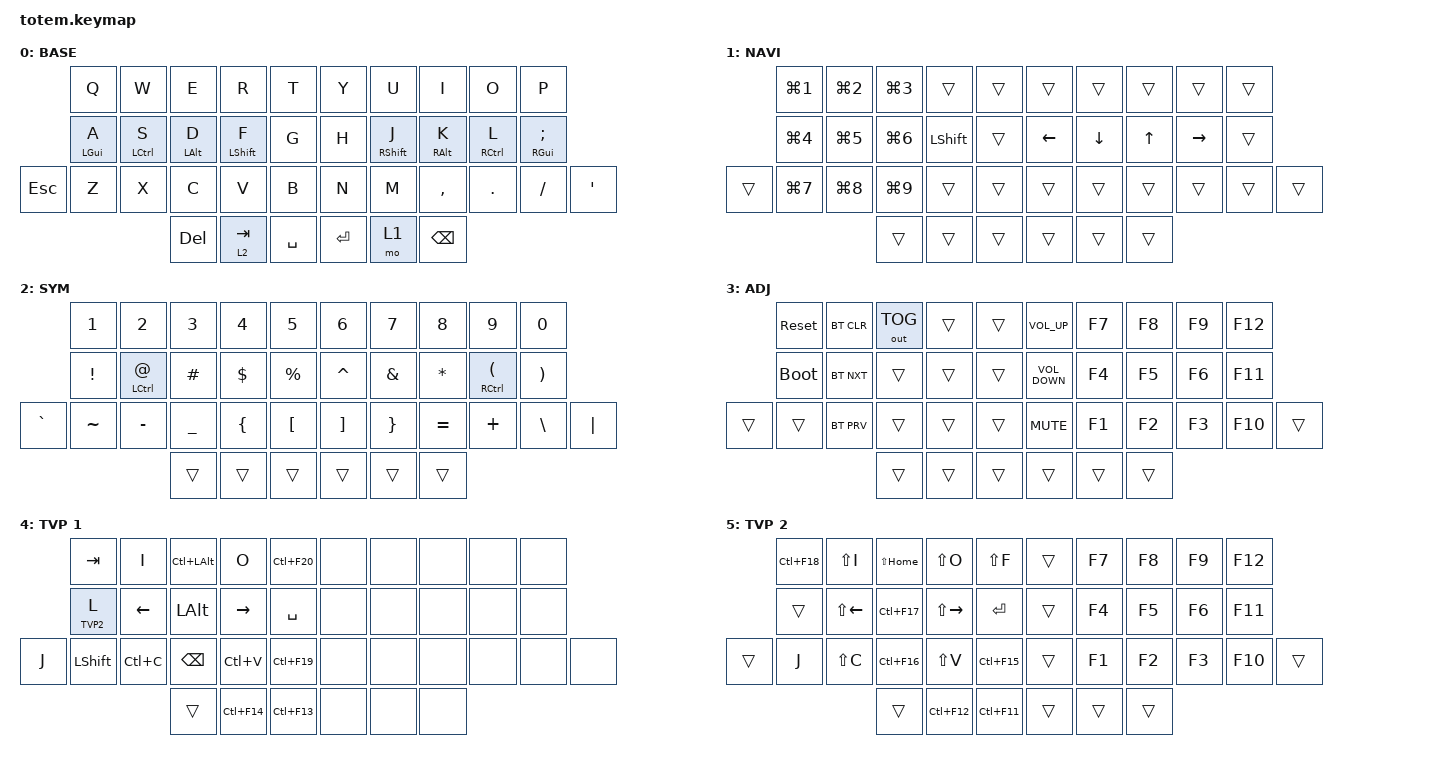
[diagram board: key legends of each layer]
//
//                                                        ▀▀▀▀▀     ▀▀▀▀▀          ▀▀█▀▀
//                                                        ▄▀▀▀▄  ▄  ▄▀▀▀▄  ▄  ▄▀▀▀▄  █  ▄▀▀▀▄
//                                                        █   █  █  █   █  █  █   █  █  █   █
//                                                         ▀▀▀   █   ▀▀▀   █   ▀▀▀   ▀   ▀▀▀
//                                                               █      ▄▄▄█▄▄▄    █   █  
//                                                               ▀      █  █  █     █▄█
//                                                             ▀▀▀▀▀    █  █  █      ▀
//                                                                      ▀  ▀  ▀
//
// ▄▄▄▄▄▄▄▄▄▄▄▄▄▄▄▄▄▄▄▄▄▄▄▄▄▄▄▄▄▄▄▄▄▄▄▄▄▄▄▄▄▄▄▄▄▄▄▄▄▄▄▄▄▄▄▄▄▄▄▄▄▄▄▄▄▄▄▄▄▄▄▄▄▄▄▄▄▄▄▄▄▄▄▄▄▄▄▄▄▄▄▄▄▄▄▄▄▄▄▄▄▄▄▄▄▄▄▄▄▄▄▄▄▄▄▄▄▄▄▄▄▄▄▄▄▄▄▄▄▄▄▄▄▄▄▄▄▄▄▄▄▄▄▄▄▄▄▄▄

#include <behaviors.dtsi>
#include <dt-bindings/zmk/bt.h>
#include <dt-bindings/zmk/keys.h>
#include <dt-bindings/zmk/outputs.h>

#define BASE 0
#define NAV  1
#define SYM  2
#define ADJ  3
#define TVP1 4
#define TVP2 5

&mt {
    quick-tap-ms = <100>;
    global-quick-tap;
    flavor = "tap-preferred";
    tapping-term-ms = <170>;
};

/ {
    combos { compatible = "zmk,combos"; };

    macros {
        gif: gif {
            label = "giphy";
            compatible = "zmk,behavior-macro";
            #binding-cells = <0>;
            bindings =
                <&macro_press>,
                <&kp LSHFT>,
                <&macro_tap>,
                <&kp N2>,
                <&macro_release>,
                <&kp LSHFT>,
                <&macro_tap>,
                <&kp G &kp I &kp F>;
        };
    };

    keymap {
        compatible = "zmk,keymap";

        // ▄▄▄▄▄▄▄▄▄▄▄▄▄▄▄▄▄▄▄▄▄▄▄▄▄▄▄▄▄▄▄▄▄▄▄▄▄▄▄▄▄▄▄▄▄▄▄▄▄▄▄▄▄▄▄▄▄▄▄▄▄▄▄▄▄▄▄▄▄▄▄▄▄▄▄▄▄▄▄▄▄▄▄▄▄▄▄▄▄▄▄▄▄▄▄▄▄▄▄▄▄▄▄▄▄▄▄▄▄▄▄▄▄▄▄▄▄▄▄▄▄▄▄▄▄▄▄▄▄▄▄▄▄▄▄▄▄▄▄▄▄▄▄▄▄▄▄▄▄

        base_layer {
            // ┏━━━━━━━━━━━━━━━━━━━━━━━━━━━━━━━━━━━━━━━┓

            label = "BASE";

            // ┗━━━━━━━━━━━━━━━━━━━━━━━━━━━━━━━━━━━━━━━┛
            //             ┏━━━━━━━━━━━┳━━━━━━━━━━━┳━━━━━━━━━━━┳━━━━━━━━━━━┳━━━━━━━━━━━┓   ┏━━━━━━━━━━━┳━━━━━━━━━━━┳━━━━━━━━━━━┳━━━━━━━━━━━┳━━━━━━━━━━━┓
            //             ┃     Q     ┃     W     ┃     F     ┃     P     ┃     G     ┃   ┃     J     ┃     L     ┃     U     ┃     Y     ┃     ;     ┃
            //             ┣━━━━━━━━━━━╋━━━━━━━━━━━╋━━━━━━━━━━━╋━━━━━━━━━━━╋━━━━━━━━━━━┫   ┣━━━━━━━━━━━╋━━━━━━━━━━━╋━━━━━━━━━━━╋━━━━━━━━━━━╋━━━━━━━━━━━┫
            //             ┃     A     ┃     R     ┃     S     ┃     T     ┃     D     ┃   ┃     H     ┃     N     ┃     E     ┃     I     ┃     O     ┃
            // ┏━━━━━━━━━━━╋━━━━━━━━━━━╋━━━━━━━━━━━╋━━━━━━━━━━━╋━━━━━━━━━━━╋━━━━━━━━━━━┫   ┣━━━━━━━━━━━╋━━━━━━━━━━━╋━━━━━━━━━━━╋━━━━━━━━━━━╋━━━━━━━━━━━╋━━━━━━━━━━━┓
            // ┃     Q     ┃     Z     ┃     X     ┃     C     ┃     V     ┃     B     ┃   ┃     K     ┃     M     ┃     ,     ┃     .     ┃     /     ┃     \     ┃
            // ┗━━━━━━━━━━━┻━━━━━━━━━━━┻━━━━━━━━━━━╋━━━━━━━━━━━╋━━━━━━━━━━━╋━━━━━━━━━━━┫   ┣━━━━━━━━━━━╋━━━━━━━━━━━╋━━━━━━━━━━━╋━━━━━━━━━━━┻━━━━━━━━━━━┻━━━━━━━━━━━┛
            //                                     ┃    DEL    ┃    TAB    ┃    SPC    ┃   ┃   ENTER   ┃           ┃   BSPC    ┃
            //                                     ┗━━━━━━━━━━━┻━━━━━━━━━━━┻━━━━━━━━━━━┛   ┗━━━━━━━━━━━┻━━━━━━━━━━━┻━━━━━━━━━━━┛

            bindings = <
            &kp Q           &kp W               &kp E           &kp R             &kp T        &kp Y    &kp U              &kp I            &kp O                &kp P
            &mt LEFT_GUI A  &mt LEFT_CONTROL S  &mt LEFT_ALT D  &mt LEFT_SHIFT F  &kp G        &kp H    &mt RIGHT_SHIFT J  &mt RIGHT_ALT K  &mt RIGHT_CONTROL L  &mt RIGHT_GUI SEMICOLON
&kp ESCAPE  &kp Z           &kp X               &kp C           &kp V             &kp B        &kp N    &kp M              &kp COMMA        &kp DOT              &kp FSLH                 &kp SQT
                                                &kp DELETE      &lt 2 TAB         &kp SPACE    &kp RET  &mo 1              &kp BSPC
            >;
        };

        // ▄▄▄▄▄▄▄▄▄▄▄▄▄▄▄▄▄▄▄▄▄▄▄▄▄▄▄▄▄▄▄▄▄▄▄▄▄▄▄▄▄▄▄▄▄▄▄▄▄▄▄▄▄▄▄▄▄▄▄▄▄▄▄▄▄▄▄▄▄▄▄▄▄▄▄▄▄▄▄▄▄▄▄▄▄▄▄▄▄▄▄▄▄▄▄▄▄▄▄▄▄▄▄▄▄▄▄▄▄▄▄▄▄▄▄▄▄▄▄▄▄▄▄▄▄▄▄▄▄▄▄▄▄▄▄▄▄▄▄▄▄▄▄▄▄▄▄▄▄

        nav_layer {
            // ┏━━━━━━━━━━━━━━━━━━━━━━━━━━━━━━━━━━━━━━━┓

            label = "NAVI";

            // ┗━━━━━━━━━━━━━━━━━━━━━━━━━━━━━━━━━━━━━━━┛
            //             ┏━━━━━━━━━━━┳━━━━━━━━━━━┳━━━━━━━━━━━┳━━━━━━━━━━━┳━━━━━━━━━━━┓   ┏━━━━━━━━━━━┳━━━━━━━━━━━┳━━━━━━━━━━━┳━━━━━━━━━━━┳━━━━━━━━━━━┓
            //             ┃           ┃           ┃     UP    ┃           ┃     {     ┃   ┃     }     ┃     7     ┃     8     ┃     9     ┃     +     ┃
            //             ┣━━━━━━━━━━━╋━━━━━━━━━━━╋━━━━━━━━━━━╋━━━━━━━━━━━╋━━━━━━━━━━━┫   ┣━━━━━━━━━━━╋━━━━━━━━━━━╋━━━━━━━━━━━╋━━━━━━━━━━━╋━━━━━━━━━━━┫
            //             ┃   SHIFT   ┃   LEFT    ┃    DOWN   ┃   RIGHT   ┃     [     ┃   ┃     ]     ┃     4     ┃     5     ┃     6     ┃     -     ┃
            // ┏━━━━━━━━━━━╋━━━━━━━━━━━╋━━━━━━━━━━━╋━━━━━━━━━━━╋━━━━━━━━━━━╋━━━━━━━━━━━┫   ┣━━━━━━━━━━━╋━━━━━━━━━━━╋━━━━━━━━━━━╋━━━━━━━━━━━╋━━━━━━━━━━━╋━━━━━━━━━━━┓
            // ┃           ┃           ┃   P UP    ┃  C LOCK   ┃  P DOWN   ┃     (     ┃   ┃     )     ┃     1     ┃     2     ┃     3     ┃     *     ┃           ┃
            // ┗━━━━━━━━━━━┻━━━━━━━━━━━┻━━━━━━━━━━━╋━━━━━━━━━━━╋━━━━━━━━━━━╋━━━━━━━━━━━┫   ┣━━━━━━━━━━━╋━━━━━━━━━━━╋━━━━━━━━━━━╋━━━━━━━━━━━┻━━━━━━━━━━━┻━━━━━━━━━━━┛
            //                                     ┃           ┃    TAB    ┃    SPC    ┃   ┃    DEL    ┃     0     ┃           ┃
            //                                     ┗━━━━━━━━━━━┻━━━━━━━━━━━┻━━━━━━━━━━━┛   ┗━━━━━━━━━━━┻━━━━━━━━━━━┻━━━━━━━━━━━┛

            bindings = <
        &kp LG(NUMBER_1)  &kp LG(NUMBER_2)  &kp LG(NUMBER_3)  &trans          &trans    &trans    &trans    &trans        &trans     &trans
        &kp LG(NUMBER_4)  &kp LG(N5)        &kp LG(NUMBER_6)  &kp LEFT_SHIFT  &trans    &kp LEFT  &kp DOWN  &kp UP_ARROW  &kp RIGHT  &trans
&trans  &kp LG(N7)        &kp LG(N8)        &kp LG(N9)        &trans          &trans    &trans    &trans    &trans        &trans     &trans  &trans
                                            &trans            &trans          &trans    &trans    &trans    &trans
            >;
        };

        // ▄▄▄▄▄▄▄▄▄▄▄▄▄▄▄▄▄▄▄▄▄▄▄▄▄▄▄▄▄▄▄▄▄▄▄▄▄▄▄▄▄▄▄▄▄▄▄▄▄▄▄▄▄▄▄▄▄▄▄▄▄▄▄▄▄▄▄▄▄▄▄▄▄▄▄▄▄▄▄▄▄▄▄▄▄▄▄▄▄▄▄▄▄▄▄▄▄▄▄▄▄▄▄▄▄▄▄▄▄▄▄▄▄▄▄▄▄▄▄▄▄▄▄▄▄▄▄▄▄▄▄▄▄▄▄▄▄▄▄▄▄▄▄▄▄▄▄▄▄

        sim_layer {
            // ┏━━━━━━━━━━━━━━━━━━━━━━━━━━━━━━━━━━━━━━━┓

            label = "SYM";

            // ┗━━━━━━━━━━━━━━━━━━━━━━━━━━━━━━━━━━━━━━━┛
            //             ┏━━━━━━━━━━━┳━━━━━━━━━━━┳━━━━━━━━━━━┳━━━━━━━━━━━┳━━━━━━━━━━━┓   ┏━━━━━━━━━━━┳━━━━━━━━━━━┳━━━━━━━━━━━┳━━━━━━━━━━━┳━━━━━━━━━━━┓
            //             ┃     !     ┃     @     ┃     #     ┃     $     ┃     %     ┃   ┃     ˆ     ┃     &     ┃     Ü     ┃     '     ┃     "     ┃
            //             ┣━━━━━━━━━━━╋━━━━━━━━━━━╋━━━━━━━━━━━╋━━━━━━━━━━━╋━━━━━━━━━━━┫   ┣━━━━━━━━━━━╋━━━━━━━━━━━╋━━━━━━━━━━━╋━━━━━━━━━━━╋━━━━━━━━━━━┫
            //             ┃     Ä     ┃           ┃    SZ     ┃           ┃           ┃   ┃   MUTE    ┃   YEN     ┃   EURO    ┃  POUND    ┃     Ö     ┃
            // ┏━━━━━━━━━━━╋━━━━━━━━━━━╋━━━━━━━━━━━╋━━━━━━━━━━━╋━━━━━━━━━━━╋━━━━━━━━━━━┫   ┣━━━━━━━━━━━╋━━━━━━━━━━━╋━━━━━━━━━━━╋━━━━━━━━━━━╋━━━━━━━━━━━╋━━━━━━━━━━━┓
            // ┃           ┃  EMAIL1   ┃  EMAIL2   ┃           ┃           ┃           ┃   ┃   VOL-    ┃   VOL+    ┃   LAST    ┃   NEXT    ┃     \     ┃           ┃
            // ┗━━━━━━━━━━━┻━━━━━━━━━━━┻━━━━━━━━━━━╋━━━━━━━━━━━╋━━━━━━━━━━━╋━━━━━━━━━━━┫   ┣━━━━━━━━━━━╋━━━━━━━━━━━╋━━━━━━━━━━━╋━━━━━━━━━━━┻━━━━━━━━━━━┻━━━━━━━━━━━┛
            //                                     ┃           ┃    GIF    ┃    ADJ    ┃   ┃           ┃           ┃           ┃
            //                                     ┗━━━━━━━━━━━┻━━━━━━━━━━━┻━━━━━━━━━━━┛   ┗━━━━━━━━━━━┻━━━━━━━━━━━┻━━━━━━━━━━━┛

            bindings = <
           &kp NUMBER_1     &kp NUMBER_2              &kp NUMBER_3    &kp NUMBER_4    &kp N5              &kp NUMBER_6       &kp N7           &kp N8     &kp N9                              &kp N0
           &kp EXCLAMATION  &mt LEFT_CONTROL AT_SIGN  &kp POUND       &kp DOLLAR      &kp PERCENT         &kp CARET          &kp AMPERSAND    &kp STAR   &mt RIGHT_CONTROL LEFT_PARENTHESIS  &kp RIGHT_PARENTHESIS
&kp GRAVE  &kp TILDE        &kp MINUS                 &kp UNDERSCORE  &kp LEFT_BRACE  &kp LEFT_BRACKET    &kp RIGHT_BRACKET  &kp RIGHT_BRACE  &kp EQUAL  &kp PLUS                            &kp BACKSLASH          &kp PIPE
                                                      &trans          &trans          &trans              &trans             &trans           &trans
            >;
        };

        // ▄▄▄▄▄▄▄▄▄▄▄▄▄▄▄▄▄▄▄▄▄▄▄▄▄▄▄▄▄▄▄▄▄▄▄▄▄▄▄▄▄▄▄▄▄▄▄▄▄▄▄▄▄▄▄▄▄▄▄▄▄▄▄▄▄▄▄▄▄▄▄▄▄▄▄▄▄▄▄▄▄▄▄▄▄▄▄▄▄▄▄▄▄▄▄▄▄▄▄▄▄▄▄▄▄▄▄▄▄▄▄▄▄▄▄▄▄▄▄▄▄▄▄▄▄▄▄▄▄▄▄▄▄▄▄▄▄▄▄▄▄▄▄▄▄▄▄▄▄

        adjust_layer {
            // ┏━━━━━━━━━━━━━━━━━━━━━━━━━━━━━━━━━━━━━━━┓

            label = "ADJ";

            // ┗━━━━━━━━━━━━━━━━━━━━━━━━━━━━━━━━━━━━━━━┛
            //             ┏━━━━━━━━━━━┳━━━━━━━━━━━┳━━━━━━━━━━━┳━━━━━━━━━━━┳━━━━━━━━━━━┓   ┏━━━━━━━━━━━┳━━━━━━━━━━━┳━━━━━━━━━━━┳━━━━━━━━━━━┳━━━━━━━━━━━┓
            //             ┃   RESET   ┃ BT CLEAR  ┃  OUT TOG  ┃           ┃           ┃   ┃           ┃    F7     ┃    F8     ┃    F9     ┃    F12    ┃
            //             ┣━━━━━━━━━━━╋━━━━━━━━━━━╋━━━━━━━━━━━╋━━━━━━━━━━━╋━━━━━━━━━━━┫   ┣━━━━━━━━━━━╋━━━━━━━━━━━╋━━━━━━━━━━━╋━━━━━━━━━━━╋━━━━━━━━━━━┫
            //             ┃ BOOTLOAD  ┃ BT NEXT   ┃           ┃           ┃           ┃   ┃           ┃    F4     ┃    F5     ┃    F6     ┃    F11    ┃
            // ┏━━━━━━━━━━━╋━━━━━━━━━━━╋━━━━━━━━━━━╋━━━━━━━━━━━╋━━━━━━━━━━━╋━━━━━━━━━━━┫   ┣━━━━━━━━━━━╋━━━━━━━━━━━╋━━━━━━━━━━━╋━━━━━━━━━━━╋━━━━━━━━━━━╋━━━━━━━━━━━┓
            // ┃           ┃           ┃ BT PREV   ┃           ┃           ┃           ┃   ┃           ┃    F1     ┃    F2     ┃    F3     ┃    F10    ┃           ┃
            // ┗━━━━━━━━━━━┻━━━━━━━━━━━┻━━━━━━━━━━━╋━━━━━━━━━━━╋━━━━━━━━━━━╋━━━━━━━━━━━┫   ┣━━━━━━━━━━━╋━━━━━━━━━━━╋━━━━━━━━━━━╋━━━━━━━━━━━┻━━━━━━━━━━━┻━━━━━━━━━━━┛
            //                                     ┃           ┃           ┃           ┃   ┃           ┃           ┃           ┃
            //                                     ┗━━━━━━━━━━━┻━━━━━━━━━━━┻━━━━━━━━━━━┛   ┗━━━━━━━━━━━┻━━━━━━━━━━━┻━━━━━━━━━━━┛

            bindings = <
        &sys_reset   &bt BT_CLR  &out OUT_TOG  &trans  &trans    &kp C_VOLUME_UP    &kp F7  &kp F8  &kp F9  &kp F12
        &bootloader  &bt BT_NXT  &trans        &trans  &trans    &kp C_VOLUME_DOWN  &kp F4  &kp F5  &kp F6  &kp F11
&trans  &trans       &bt BT_PRV  &trans        &trans  &trans    &kp K_MUTE         &kp F1  &kp F2  &kp F3  &kp F10  &trans
                                 &trans        &trans  &trans    &trans             &trans  &trans
            >;
        };

        // ▄▄▄▄▄▄▄▄▄▄▄▄▄▄▄▄▄▄▄▄▄▄▄▄▄▄▄▄▄▄▄▄▄▄▄▄▄▄▄▄▄▄▄▄▄▄▄▄▄▄▄▄▄▄▄▄▄▄▄▄▄▄▄▄▄▄▄▄▄▄▄▄▄▄▄▄▄▄▄▄▄▄▄▄▄▄▄▄▄▄▄▄▄▄▄▄▄▄▄▄▄▄▄▄▄▄▄▄▄▄▄▄▄▄▄▄▄▄▄▄▄▄▄▄▄▄▄▄▄▄▄▄▄▄▄▄▄▄▄▄▄▄▄▄▄▄▄▄▄

        tvp1_layer {
            // ┏━━━━━━━━━━━━━━━━━━━━━━━━━━━━━━━━━━━━━━━┓

            label = "TVP 1";

            // ┗━━━━━━━━━━━━━━━━━━━━━━━━━━━━━━━━━━━━━━━┛
            //             ┏━━━━━━━━━━━┳━━━━━━━━━━━┳━━━━━━━━━━━┳━━━━━━━━━━━┳━━━━━━━━━━━┓   ┏━━━━━━━━━━━┳━━━━━━━━━━━┳━━━━━━━━━━━┳━━━━━━━━━━━┳━━━━━━━━━━━┓
            //             ┃ NEXT FILE ┃ MARK IN   ┃ ROTATE    ┃ MARK OUT  ┃ SHOW SNAP ┃   ┃           ┃           ┃           ┃           ┃           ┃
            //             ┣━━━━━━━━━━━╋━━━━━━━━━━━╋━━━━━━━━━━━╋━━━━━━━━━━━╋━━━━━━━━━━━┫   ┣━━━━━━━━━━━╋━━━━━━━━━━━╋━━━━━━━━━━━╋━━━━━━━━━━━╋━━━━━━━━━━━┫
            //             ┃ TVP II    ┃ LEFT      ┃ PAN       ┃ RIGHT     ┃ PLAY/FLIP ┃   ┃           ┃           ┃           ┃           ┃           ┃
            // ┏━━━━━━━━━━━╋━━━━━━━━━━━╋━━━━━━━━━━━╋━━━━━━━━━━━╋━━━━━━━━━━━╋━━━━━━━━━━━┫   ┣━━━━━━━━━━━╋━━━━━━━━━━━╋━━━━━━━━━━━╋━━━━━━━━━━━╋━━━━━━━━━━━╋━━━━━━━━━━━┓
            // ┃ FULLSCR   ┃ SHIFT     ┃ COPY      ┃ DELETE    ┃ PASTE     ┃ IMG MARK  ┃   ┃           ┃           ┃           ┃           ┃           ┃           ┃
            // ┗━━━━━━━━━━━┻━━━━━━━━━━━┻━━━━━━━━━━━╋━━━━━━━━━━━╋━━━━━━━━━━━╋━━━━━━━━━━━┫   ┣━━━━━━━━━━━╋━━━━━━━━━━━╋━━━━━━━━━━━╋━━━━━━━━━━━┻━━━━━━━━━━━┻━━━━━━━━━━━┛
            //                                     ┃           ┃ UNDO/SAVE ┃  SEL/MOV  ┃   ┃           ┃           ┃           ┃
            //                                     ┗━━━━━━━━━━━┻━━━━━━━━━━━┻━━━━━━━━━━━┛   ┗━━━━━━━━━━━┻━━━━━━━━━━━┻━━━━━━━━━━━┛

            bindings = <
       &kp TAB     &kp I      &kp LC(LALT)  &kp O        &kp LC(F20)    &none  &none  &none  &none  &none
       &lt TVP2 L  &kp LEFT   &kp LALT      &kp RIGHT    &kp SPACE      &none  &none  &none  &none  &none
&kp J  &kp LSHFT   &kp LC(C)  &kp BSPC      &kp LC(V)    &kp LC(F19)    &none  &none  &none  &none  &none  &none
                              &trans        &kp LC(F14)  &kp LC(F13)    &none  &none  &none
            >;
        };

        // ▄▄▄▄▄▄▄▄▄▄▄▄▄▄▄▄▄▄▄▄▄▄▄▄▄▄▄▄▄▄▄▄▄▄▄▄▄▄▄▄▄▄▄▄▄▄▄▄▄▄▄▄▄▄▄▄▄▄▄▄▄▄▄▄▄▄▄▄▄▄▄▄▄▄▄▄▄▄▄▄▄▄▄▄▄▄▄▄▄▄▄▄▄▄▄▄▄▄▄▄▄▄▄▄▄▄▄▄▄▄▄▄▄▄▄▄▄▄▄▄▄▄▄▄▄▄▄▄▄▄▄▄▄▄▄▄▄▄▄▄▄▄▄▄▄▄▄▄▄

        tvp2_layer {
            // ┏━━━━━━━━━━━━━━━━━━━━━━━━━━━━━━━━━━━━━━━┓

            label = "TVP 2";

            // ┗━━━━━━━━━━━━━━━━━━━━━━━━━━━━━━━━━━━━━━━┛
            //             ┏━━━━━━━━━━━┳━━━━━━━━━━━┳━━━━━━━━━━━┳━━━━━━━━━━━┳━━━━━━━━━━━┓   ┏━━━━━━━━━━━┳━━━━━━━━━━━┳━━━━━━━━━━━┳━━━━━━━━━━━┳━━━━━━━━━━━┓
            //             ┃ SOLO      ┃ TOGGLE IN ┃ RESET ROT ┃ TOGGLE OUT┃ TAKE SNAP ┃   ┃           ┃           ┃           ┃           ┃           ┃
            //             ┣━━━━━━━━━━━╋━━━━━━━━━━━╋━━━━━━━━━━━╋━━━━━━━━━━━╋━━━━━━━━━━━┫   ┣━━━━━━━━━━━╋━━━━━━━━━━━╋━━━━━━━━━━━╋━━━━━━━━━━━╋━━━━━━━━━━━┫
            //             ┃ ---       ┃ LAST KEY  ┃ NEW KEY   ┃ NEXT KEY  ┃ ENTER     ┃   ┃           ┃           ┃           ┃           ┃           ┃
            // ┏━━━━━━━━━━━╋━━━━━━━━━━━╋━━━━━━━━━━━╋━━━━━━━━━━━╋━━━━━━━━━━━╋━━━━━━━━━━━┫   ┣━━━━━━━━━━━╋━━━━━━━━━━━╋━━━━━━━━━━━╋━━━━━━━━━━━╋━━━━━━━━━━━╋━━━━━━━━━━━┓
            // ┃           ┃ FULLSCR   ┃ CPY2BRUSH ┃ DEL HEAD  ┃ PSTinPLACE┃ BOOK MARK ┃   ┃           ┃           ┃           ┃           ┃           ┃           ┃
            // ┗━━━━━━━━━━━┻━━━━━━━━━━━┻━━━━━━━━━━━╋━━━━━━━━━━━╋━━━━━━━━━━━╋━━━━━━━━━━━┫   ┣━━━━━━━━━━━╋━━━━━━━━━━━╋━━━━━━━━━━━╋━━━━━━━━━━━┻━━━━━━━━━━━┻━━━━━━━━━━━┛
            //                                     ┃           ┃ REDO/SAV1 ┃TRANS/WARP ┃   ┃           ┃           ┃           ┃
            //                                     ┗━━━━━━━━━━━┻━━━━━━━━━━━┻━━━━━━━━━━━┛   ┗━━━━━━━━━━━┻━━━━━━━━━━━┻━━━━━━━━━━━┛

            bindings = <
        &kp LC(F18)  &kp LS(I)     &kp LS(HOME)  &kp LS(O)      &kp LS(F)      &trans  &kp F7  &kp F8  &kp F9  &kp F12
        &trans       &kp LS(LEFT)  &kp LC(F17)   &kp LS(RIGHT)  &kp RET        &trans  &kp F4  &kp F5  &kp F6  &kp F11
&trans  &kp J        &kp LS(C)     &kp LC(F16)   &kp LS(V)      &kp LC(F15)    &trans  &kp F1  &kp F2  &kp F3  &kp F10  &trans
                                   &trans        &kp LC(F12)    &kp LC(F11)    &trans  &trans  &trans
            >;
        };
    };

    conditional_layers {
        compatible = "zmk,conditional-layers";

        double_hold_adj {
            if-layers = <1 2>;
            then-layer = <3>;
        };
    };
};
